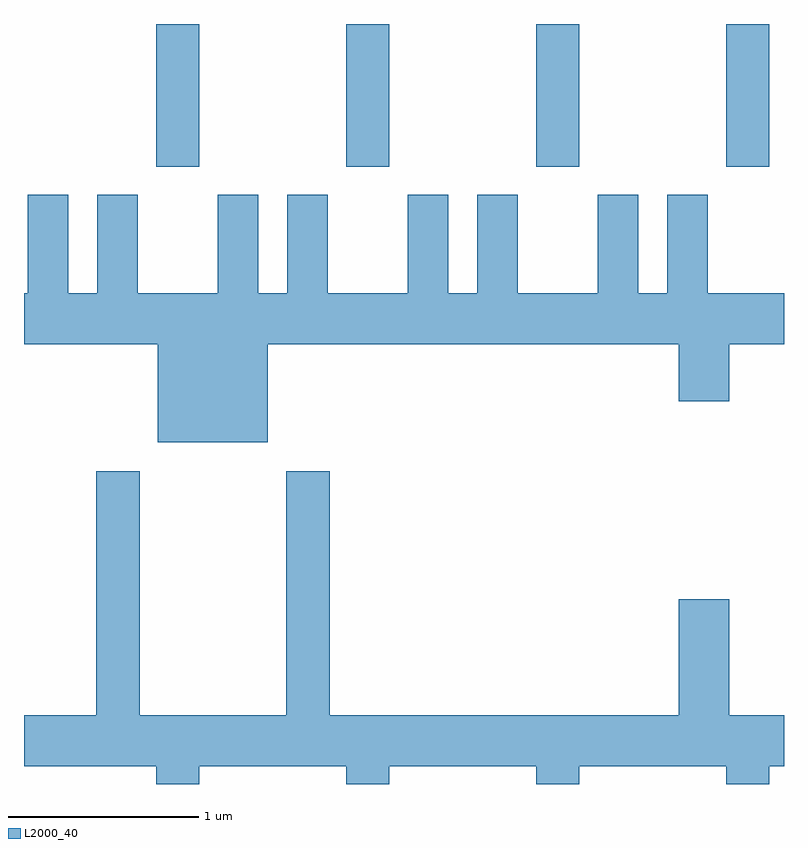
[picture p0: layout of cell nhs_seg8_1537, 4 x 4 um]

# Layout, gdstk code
import gdstk
lib = gdstk.Library(unit=1e-6, precision=1e-09)
def R(c, l, rs):  # rectangles x0, y0, x1, y1
    for r in rs: c.add(gdstk.rectangle(r[:2], r[2:], *l))
def A(c, l, x, y, w, h, nx, ny, dx, dy):  # array of equal rectangles
    R(c, l, [(x+i*dx, y+j*dy, x+i*dx+w, y+j*dy+h) for i in range(nx) for j in range(ny)])
def P(c, l, *ps):  # polygons
    for p in ps: c.add(gdstk.Polygon(p, *l))
L2000_40 = (2000, 40)

nhs_seg8_1537 = lib.new_cell('nhs_seg8_1537')
A(nhs_seg8_1537, L2000_40, 232.306, 1819.591, 0.228, 0.751, 4, 1, 1, 0)
P(nhs_seg8_1537, L2000_40, [(232.894,1818.656),(235.056,1818.656),(235.056,1818.356),(235.324,1818.356),(235.324,1818.656),(235.611,1818.656),(235.611,1818.924),(235.209,1818.924),(235.209,1819.444),(234.996,1819.444),(234.996,1818.924),(234.844,1818.924),(234.844,1819.444),(234.631,1819.444),(234.631,1818.924),(234.209,1818.924),(234.209,1819.444),(233.996,1819.444),(233.996,1818.924),(233.844,1818.924),(233.844,1819.444),(233.631,1819.444),(233.631,1818.924),(233.209,1818.924),(233.209,1819.444),(232.996,1819.444),(232.996,1818.924),(232.844,1818.924),(232.844,1819.444),(232.631,1819.444),(232.631,1818.924),(232.209,1818.924),(232.209,1819.444),(231.996,1819.444),(231.996,1818.924),(231.844,1818.924),(231.844,1819.444),(231.631,1819.444),(231.631,1818.924),(231.611,1818.924),(231.611,1818.656),(232.316,1818.656),(232.316,1818.141),(232.894,1818.141)],
  [(232.219,1817.989),(231.991,1817.989),(231.991,1816.704),(231.611,1816.704),(231.611,1816.436),(232.306,1816.436),(232.306,1816.342),(232.534,1816.342),(232.534,1816.436),(233.306,1816.436),(233.306,1816.342),(233.534,1816.342),(233.534,1816.436),(234.306,1816.436),(234.306,1816.342),(234.534,1816.342),(234.534,1816.436),(235.306,1816.436),(235.306,1816.342),(235.534,1816.342),(235.534,1816.436),(235.611,1816.436),(235.611,1816.704),(235.324,1816.704),(235.324,1817.314),(235.056,1817.314),(235.056,1816.704),(233.219,1816.704),(233.219,1817.989),(232.991,1817.989),(232.991,1816.704),(232.219,1816.704)])

lib.write_gds('nhs_seg8_1537.gds')
